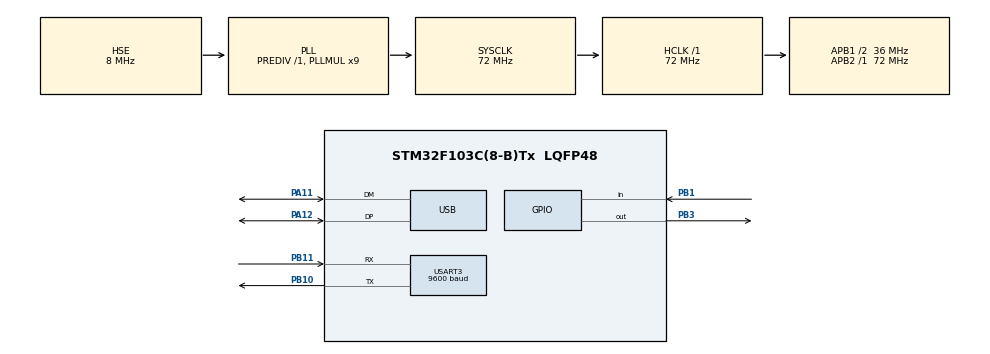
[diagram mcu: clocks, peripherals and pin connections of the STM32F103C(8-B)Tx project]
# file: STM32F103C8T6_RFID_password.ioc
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Mcu.Family=STM32F1
Mcu.Name=STM32F103C(8-B)Tx
Mcu.Package=LQFP48
NVIC.PriorityGroup=NVIC_PRIORITYGROUP_4
NVIC.TIM4_IRQn=true\:0\:0\:false\:false\:true\:true
NVIC.USART3_IRQn=true\:0\:0\:false\:false\:true\:true
NVIC.USB_LP_CAN1_RX0_IRQn=true\:0\:0\:false\:false\:true\:false
PA11.Mode=Device
PA11.Signal=USB_DM
PA12.Mode=Device
PA12.Signal=USB_DP
PA13.Mode=Serial_Wire
PA13.Signal=SYS_JTMS-SWDIO
PA14.Mode=Serial_Wire
PA14.Signal=SYS_JTCK-SWCLK
PB1.GPIO_PuPd=GPIO_PULLUP
PB1.Signal=GPIO_Input
PB10.Mode=Asynchronous
PB10.Signal=USART3_TX
PB11.Mode=Asynchronous
PB11.Signal=USART3_RX
PB3.Signal=GPIO_Output
PD0-OSC_IN.Mode=HSE-External-Oscillator
PD0-OSC_IN.Signal=RCC_OSC_IN
PD1-OSC_OUT.Mode=HSE-External-Oscillator
PD1-OSC_OUT.Signal=RCC_OSC_OUT
ProjectManager.HeapSize=0x200
ProjectManager.StackSize=0x400
ProjectManager.TargetToolchain=TrueSTUDIO
RCC.AHBFreq_Value=72000000
RCC.APB1CLKDivider=RCC_HCLK_DIV2
RCC.APB1Freq_Value=36000000
RCC.APB1TimFreq_Value=72000000
RCC.APB2Freq_Value=72000000
RCC.APB2TimFreq_Value=72000000
RCC.HCLKFreq_Value=72000000
RCC.PLLMUL=RCC_PLL_MUL9
RCC.SYSCLKFreq_VALUE=72000000
RCC.SYSCLKSource=RCC_SYSCLKSOURCE_PLLCLK
RCC.USBFreq_Value=48000000
RCC.USBPrescaler=RCC_USBCLKSOURCE_PLL_DIV1_5
TIM4.Period=1999
TIM4.Prescaler=7200
USART3.BaudRate=9600
USART3.VirtualMode=VM_ASYNC
USB_DEVICE.CLASS_NAME_FS=HID
USB_DEVICE.VirtualMode=Hid
USB_DEVICE.VirtualModeFS=Hid_FS
VP_TIM4_VS_ClockSourceINT.Mode=Internal
VP_USB_DEVICE_VS_USB_DEVICE_HID_FS.Mode=HID_FS
board=STM32F103C8T6_RFID_password

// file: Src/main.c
/**
  ******************************************************************************
  * File Name          : main.c
  * Description        : Main program body
  ******************************************************************************
  * This notice applies to any and all portions of this file
  * that are not between comment pairs USER CODE BEGIN and
  * USER CODE END. Other portions of this file, whether
  * inserted by the user or by software development tools
  * are owned by their respective copyright owners.
  *
  * Copyright (c) 2018 STMicroelectronics International N.V.
  * All rights reserved.
  *
  * Redistribution and use in source and binary forms, with or without
  * modification, are permitted, provided that the following conditions are met:
  *
  * 1. Redistribution of source code must retain the above copyright notice,
  *    this list of conditions and the following disclaimer.
  * 2. Redistributions in binary form must reproduce the above copyright notice,
  *    this list of conditions and the following disclaimer in the documentation
  *    and/or other materials provided with the distribution.
  * 3. Neither the name of STMicroelectronics nor the names of other
  *    contributors to this software may be used to endorse or promote products
  *    derived from this software without specific written permission.
  * 4. This software, including modifications and/or derivative works of this
  *    software, must execute solely and exclusively on microcontroller or
  *    microprocessor devices manufactured by or for STMicroelectronics.
  * 5. Redistribution and use of this software other than as permitted under
  *    this license is void and will automatically terminate your rights under
  *    this license.
  *
  * THIS SOFTWARE IS PROVIDED BY STMICROELECTRONICS AND CONTRIBUTORS "AS IS"
  * AND ANY EXPRESS, IMPLIED OR STATUTORY WARRANTIES, INCLUDING, BUT NOT
  * LIMITED TO, THE IMPLIED WARRANTIES OF MERCHANTABILITY, FITNESS FOR A
  * PARTICULAR PURPOSE AND NON-INFRINGEMENT OF THIRD PARTY INTELLECTUAL PROPERTY
  * RIGHTS ARE DISCLAIMED TO THE FULLEST EXTENT PERMITTED BY LAW. IN NO EVENT
  * SHALL STMICROELECTRONICS OR CONTRIBUTORS BE LIABLE FOR ANY DIRECT, INDIRECT,
  * INCIDENTAL, SPECIAL, EXEMPLARY, OR CONSEQUENTIAL DAMAGES (INCLUDING, BUT NOT
  * LIMITED TO, PROCUREMENT OF SUBSTITUTE GOODS OR SERVICES; LOSS OF USE, DATA,
  * OR PROFITS; OR BUSINESS INTERRUPTION) HOWEVER CAUSED AND ON ANY THEORY OF
  * LIABILITY, WHETHER IN CONTRACT, STRICT LIABILITY, OR TORT (INCLUDING
  * NEGLIGENCE OR OTHERWISE) ARISING IN ANY WAY OUT OF THE USE OF THIS SOFTWARE,
  * EVEN IF ADVISED OF THE POSSIBILITY OF SUCH DAMAGE.
  *
  ******************************************************************************
  */
#include "main.h"
#include "stm32f1xx_hal.h"
#include "usb_device.h"

/* USER CODE BEGIN Includes */
#include "usbd_hid.h"
#include "usb_hid_keys.h"
/* USER CODE END Includes */

TIM_HandleTypeDef htim4;

UART_HandleTypeDef huart3;

/* USER CODE BEGIN PV */
/* Private variables ---------------------------------------------------------*/
#include <string.h>
char RFID_buffer[30], RFID_200ms_counter=0, RFID_flag=0, RFID_cnt=0, RFID_to_send[30], FLAG=0;

struct keyboardHID_t
{
	uint8_t id;
	uint8_t modifiers;
	uint8_t key1;
	uint8_t key2;
	uint8_t key3;
};
struct keyboardHID_t keyboardHID;

struct mediaHID_t
{
	uint8_t id;
	uint8_t keys;
};
struct mediaHID_t mediaHID;
/* USER CODE END PV */

void SystemClock_Config(void);
static void MX_GPIO_Init(void);
static void MX_USART3_UART_Init(void);
static void MX_TIM4_Init(void);

/* USER CODE BEGIN PFP */
/* Private function prototypes -----------------------------------------------*/

/* USER CODE END PFP */

/* USER CODE BEGIN 0 */
void send_password()
{
	uint8_t i=0;
	keyboardHID.key1 = KEY_BACKSPACE;
	USBD_HID_SendReport(&hUsbDeviceFS, &keyboardHID, sizeof(struct keyboardHID_t));
	HAL_Delay(30);
	keyboardHID.key1 = 0;
	USBD_HID_SendReport(&hUsbDeviceFS, &keyboardHID, sizeof(struct keyboardHID_t));
	HAL_Delay(500);
	memset(RFID_to_send,0,30);

	for(i=0; i<9; i++)
	{
		if((RFID_buffer[i]%5==0) || (RFID_buffer[i]%7==0))
			RFID_to_send[i]=RFID_buffer[i]%26 + 'A';
		else
			RFID_to_send[i]=RFID_buffer[i]%10 + '0';

	}

	for(i=0; i<strlen(RFID_to_send); i++)
	{
		if(RFID_to_send[i]>='A' && RFID_to_send[i]<='Z')
			keyboardHID.key1 = RFID_to_send[i]-61;
		else if(RFID_to_send[i]>='0' && RFID_to_send[i]<='9')
			keyboardHID.key1 = RFID_to_send[i]-19;

		USBD_HID_SendReport(&hUsbDeviceFS, &keyboardHID, sizeof(struct keyboardHID_t));
		HAL_Delay(30);
		keyboardHID.key1 = 0;
		USBD_HID_SendReport(&hUsbDeviceFS, &keyboardHID, sizeof(struct keyboardHID_t));
		HAL_Delay(30);
	}

	keyboardHID.key1 = KEY_ENTER;
	USBD_HID_SendReport(&hUsbDeviceFS, &keyboardHID, sizeof(struct keyboardHID_t));
	HAL_Delay(30);
	keyboardHID.key1 = 0;
	USBD_HID_SendReport(&hUsbDeviceFS, &keyboardHID, sizeof(struct keyboardHID_t));
	HAL_Delay(30);

	memset(RFID_to_send,0,30);
	memset(RFID_buffer,0,30);
	FLAG=0;
}
/* USER CODE END 0 */

int main(void)
{

  /* MCU Configuration----------------------------------------------------------*/

  /* Reset of all peripherals, Initializes the Flash interface and the Systick. */  HAL_Init();

  /* Configure the system clock */
  SystemClock_Config();

  /* Initialize all configured peripherals */
  MX_GPIO_Init();
  MX_USART3_UART_Init();
  MX_USB_DEVICE_Init();
  MX_TIM4_Init();

  /* USER CODE BEGIN 2 */
	// HID Keyboard

	keyboardHID.id = 1;
	keyboardHID.modifiers = 0;
	keyboardHID.key1 = 0;
	keyboardHID.key2 = 0;
	keyboardHID.key3 = 0;
	// HID Media

	mediaHID.id = 2;
	mediaHID.keys = 0;

  HAL_Delay(500);
  HAL_GPIO_WritePin(GPIOB, GPIO_PIN_3, 1);
  __HAL_UART_ENABLE_IT(&huart3, UART_IT_RXNE);
  HAL_TIM_Base_Start_IT(&htim4);
  /* USER CODE END 2 */

  /* Infinite loop */
  while (1)
  {

  /* USER CODE BEGIN 3 */
	  if(FLAG==1)
		  send_password();
  }
  /* USER CODE END 3 */

}

/** System Clock Configuration
*/
void SystemClock_Config(void)
{

  RCC_OscInitTypeDef RCC_OscInitStruct;
  RCC_ClkInitTypeDef RCC_ClkInitStruct;
  RCC_PeriphCLKInitTypeDef PeriphClkInit;

    /**Initializes the CPU, AHB and APB busses clocks
    */
  RCC_OscInitStruct.OscillatorType = RCC_OSCILLATORTYPE_HSE;
  RCC_OscInitStruct.HSEState = RCC_HSE_ON;
  RCC_OscInitStruct.HSEPredivValue = RCC_HSE_PREDIV_DIV1;
  RCC_OscInitStruct.HSIState = RCC_HSI_ON;
  RCC_OscInitStruct.PLL.PLLState = RCC_PLL_ON;
  RCC_OscInitStruct.PLL.PLLSource = RCC_PLLSOURCE_HSE;
  RCC_OscInitStruct.PLL.PLLMUL = RCC_PLL_MUL9;
  if (HAL_RCC_OscConfig(&RCC_OscInitStruct) != HAL_OK)
  {
    _Error_Handler(__FILE__, __LINE__);
  }

    /**Initializes the CPU, AHB and APB busses clocks
    */
  RCC_ClkInitStruct.ClockType = RCC_CLOCKTYPE_HCLK|RCC_CLOCKTYPE_SYSCLK
                              |RCC_CLOCKTYPE_PCLK1|RCC_CLOCKTYPE_PCLK2;
  RCC_ClkInitStruct.SYSCLKSource = RCC_SYSCLKSOURCE_PLLCLK;
  RCC_ClkInitStruct.AHBCLKDivider = RCC_SYSCLK_DIV1;
  RCC_ClkInitStruct.APB1CLKDivider = RCC_HCLK_DIV2;
  RCC_ClkInitStruct.APB2CLKDivider = RCC_HCLK_DIV1;

  if (HAL_RCC_ClockConfig(&RCC_ClkInitStruct, FLASH_LATENCY_2) != HAL_OK)
  {
    _Error_Handler(__FILE__, __LINE__);
  }

  PeriphClkInit.PeriphClockSelection = RCC_PERIPHCLK_USB;
  PeriphClkInit.UsbClockSelection = RCC_USBCLKSOURCE_PLL_DIV1_5;
  if (HAL_RCCEx_PeriphCLKConfig(&PeriphClkInit) != HAL_OK)
  {
    _Error_Handler(__FILE__, __LINE__);
  }

    /**Configure the Systick interrupt time
    */
  HAL_SYSTICK_Config(HAL_RCC_GetHCLKFreq()/1000);

    /**Configure the Systick
    */
  HAL_SYSTICK_CLKSourceConfig(SYSTICK_CLKSOURCE_HCLK);

  /* SysTick_IRQn interrupt configuration */
  HAL_NVIC_SetPriority(SysTick_IRQn, 0, 0);
}

/* TIM4 init function */
static void MX_TIM4_Init(void)
{

  TIM_ClockConfigTypeDef sClockSourceConfig;
  TIM_MasterConfigTypeDef sMasterConfig;

  htim4.Instance = TIM4;
  htim4.Init.Prescaler = 7200;
  htim4.Init.CounterMode = TIM_COUNTERMODE_UP;
  htim4.Init.Period = 1999;
  htim4.Init.ClockDivision = TIM_CLOCKDIVISION_DIV1;
  htim4.Init.AutoReloadPreload = TIM_AUTORELOAD_PRELOAD_DISABLE;
  if (HAL_TIM_Base_Init(&htim4) != HAL_OK)
  {
    _Error_Handler(__FILE__, __LINE__);
  }

  sClockSourceConfig.ClockSource = TIM_CLOCKSOURCE_INTERNAL;
  if (HAL_TIM_ConfigClockSource(&htim4, &sClockSourceConfig) != HAL_OK)
  {
    _Error_Handler(__FILE__, __LINE__);
  }

  sMasterConfig.MasterOutputTrigger = TIM_TRGO_RESET;
  sMasterConfig.MasterSlaveMode = TIM_MASTERSLAVEMODE_DISABLE;
  if (HAL_TIMEx_MasterConfigSynchronization(&htim4, &sMasterConfig) != HAL_OK)
  {
    _Error_Handler(__FILE__, __LINE__);
  }

}

/* USART3 init function */
static void MX_USART3_UART_Init(void)
{

  huart3.Instance = USART3;
  huart3.Init.BaudRate = 9600;
  huart3.Init.WordLength = UART_WORDLENGTH_8B;
  huart3.Init.StopBits = UART_STOPBITS_1;
  huart3.Init.Parity = UART_PARITY_NONE;
  huart3.Init.Mode = UART_MODE_TX_RX;
  huart3.Init.HwFlowCtl = UART_HWCONTROL_NONE;
  huart3.Init.OverSampling = UART_OVERSAMPLING_16;
  if (HAL_UART_Init(&huart3) != HAL_OK)
  {
    _Error_Handler(__FILE__, __LINE__);
  }

}

/** Configure pins as
        * Analog
        * Input
        * Output
        * EVENT_OUT
        * EXTI
*/
static void MX_GPIO_Init(void)
{

  GPIO_InitTypeDef GPIO_InitStruct;

  /* GPIO Ports Clock Enable */
  __HAL_RCC_GPIOD_CLK_ENABLE();
  __HAL_RCC_GPIOB_CLK_ENABLE();
  __HAL_RCC_GPIOA_CLK_ENABLE();

  /*Configure GPIO pin Output Level */
  HAL_GPIO_WritePin(GPIOB, GPIO_PIN_3, GPIO_PIN_RESET);

  /*Configure GPIO pin : PB1 */
  GPIO_InitStruct.Pin = GPIO_PIN_1;
  GPIO_InitStruct.Mode = GPIO_MODE_INPUT;
  GPIO_InitStruct.Pull = GPIO_PULLUP;
  HAL_GPIO_Init(GPIOB, &GPIO_InitStruct);

  /*Configure GPIO pin : PB3 */
  GPIO_InitStruct.Pin = GPIO_PIN_3;
  GPIO_InitStruct.Mode = GPIO_MODE_OUTPUT_PP;
  GPIO_InitStruct.Speed = GPIO_SPEED_FREQ_LOW;
  HAL_GPIO_Init(GPIOB, &GPIO_InitStruct);

}

void _Error_Handler(char * file, int line)
{
  while(1)
  {
  }
}

/************************ (C) COPYRIGHT STMicroelectronics *****END OF FILE****/
